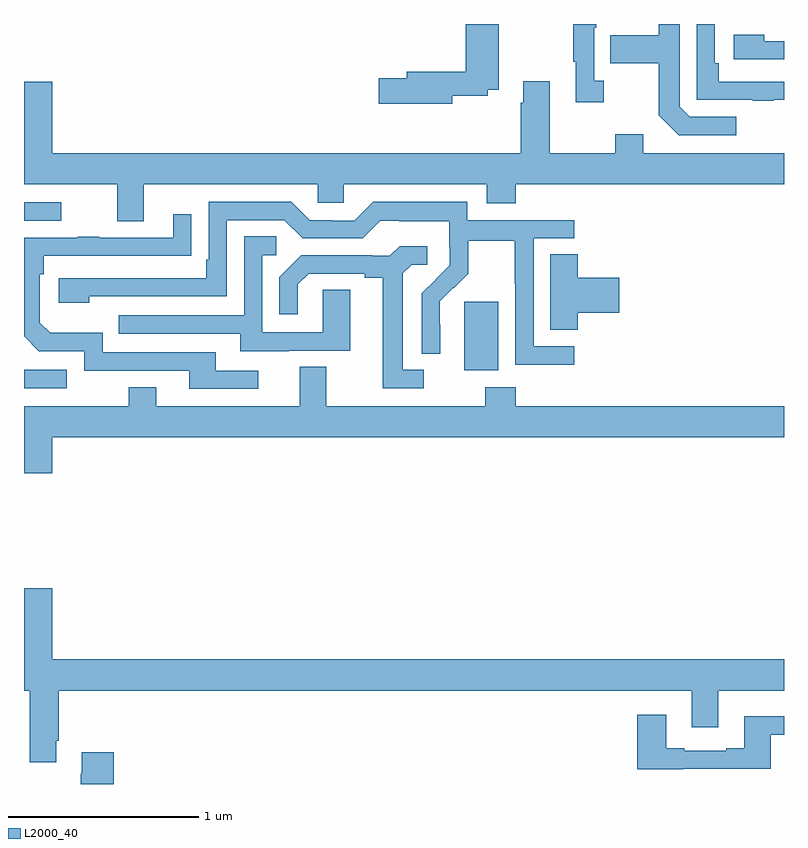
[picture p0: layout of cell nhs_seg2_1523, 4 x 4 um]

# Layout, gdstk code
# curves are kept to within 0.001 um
import gdstk
lib = gdstk.Library(unit=1e-6, precision=1e-09)
def R(c, l, rs):  # rectangles x0, y0, x1, y1
    for r in rs: c.add(gdstk.rectangle(r[:2], r[2:], *l))
def P(c, l, *ps):  # polygons
    for p in ps: c.add(gdstk.Polygon(p, *l))
L2000_40 = (2000, 40)

nhs_seg2_1523 = lib.new_cell('nhs_seg2_1523')
R(nhs_seg2_1523, L2000_40, [(189,659.883,189.226,659.979), (191.318,659.978,191.497,660.339), (189,660.765,189.196,660.861)])
P(nhs_seg2_1523, L2000_40, [(191.254,661.422),(191.442,661.422),(191.442,661.454),(191.499,661.454),(191.499,661.8),(191.324,661.8),(191.324,661.55),(191.015,661.55),(191.015,661.514),(190.866,661.514),(190.866,661.379),(191.254,661.379)],
  [(192.947,661.401),(193,661.401),(193,661.497),(192.656,661.497),(192.656,661.594),(192.636,661.594),(192.636,661.8),(192.54,661.8),(192.54,661.401),(192.835,661.401),(192.835,661.396),(192.947,661.396)],
  [(192.748,661.311),(192.504,661.311),(192.45,661.365),(192.45,661.8),(192.342,661.8),(192.342,661.741),(192.085,661.741),(192.085,661.594),(192.342,661.594),(192.342,661.321),(192.447,661.215),(192.748,661.215)],
  [(192.052,661.502),(192,661.502),(192,661.781),(192.013,661.781),(192.013,661.8),(191.892,661.8),(191.892,661.601),(191.903,661.601),(191.903,661.389),(192.052,661.389)],
  [(193,661.71),(192.896,661.71),(192.896,661.744),(192.735,661.744),(192.735,661.614),(193,661.614)],
  [(193,661.12),(192.259,661.12),(192.259,661.219),(192.112,661.219),(192.112,661.12),(191.767,661.12),(191.767,661.498),(191.627,661.498),(191.627,661.385),(191.615,661.385),(191.615,661.12),(189.148,661.12),(189.148,661.495),(189,661.495),(189,660.956),(189.491,660.956),(189.491,660.762),(189.631,660.762),(189.631,660.956),(190.545,660.956),(190.545,660.858),(190.683,660.858),(190.683,660.956),(191.435,660.956),(191.435,660.857),(191.588,660.857),(191.588,660.956),(193,660.956)],
  [(191.896,660.105),(191.682,660.105),(191.682,660.672),(191.896,660.672),(191.896,660.768),(191.334,660.768),(191.334,660.865),(190.837,660.865),(190.737,660.765),(190.622,660.765),(190.622,660.768),(190.503,660.768),(190.407,660.864),(189.972,660.864),(189.972,660.559),(189.959,660.559),(189.959,660.462),(189.183,660.462),(189.183,660.332),(189.344,660.332),(189.344,660.366),(190.068,660.366),(190.068,660.768),(190.371,660.768),(190.467,660.672),(190.782,660.672),(190.875,660.765),(190.975,660.765),(190.975,660.761),(191.238,660.761),(191.238,660.627),(191.24,660.627),(191.24,660.53),(191.094,660.382),(191.094,660.064),(191.19,660.064),(191.189,660.341),(191.259,660.411),(191.262,660.408),(191.339,660.485),(191.339,660.66),(191.584,660.66),(191.584,660.436),(191.586,660.436),(191.586,660.007),(191.896,660.007)],
  [(190.234,659.976),(190.009,659.976),(190.009,660.072),(189.414,660.072),(189.414,660.175),(189.137,660.175),(189.084,660.228),(189.084,660.482),(189.104,660.482),(189.104,660.579),(189.881,660.58),(189.881,660.799),(189.785,660.799),(189.785,660.675),(189.395,660.675),(189.395,660.68),(189.283,660.68),(189.283,660.675),(189,660.675),(189,660.156),(189.078,660.078),(189.318,660.078),(189.318,659.976),(189.869,659.976),(189.869,659.88),(190.234,659.88)],
  [(190.393,660.081),(190.717,660.081),(190.717,660.401),(190.572,660.401),(190.572,660.177),(190.254,660.177),(190.254,660.582),(190.327,660.582),(190.327,660.683),(190.158,660.683),(190.158,660.267),(189.499,660.267),(189.499,660.171),(190.139,660.171),(190.139,660.077),(190.393,660.077)],
  [(191.104,659.979),(190.993,659.979),(190.993,660.487),(191.04,660.534),(191.122,660.534),(191.122,660.631),(190.978,660.631),(190.926,660.579),(190.832,660.579),(190.832,660.582),(190.46,660.582),(190.344,660.466),(190.344,660.273),(190.441,660.273),(190.441,660.429),(190.498,660.486),(190.793,660.486),(190.793,660.464),(190.889,660.464),(190.889,659.883),(191.104,659.883)],
  [(191.915,660.281),(192.133,660.281),(192.133,660.464),(191.915,660.464),(191.915,660.587),(191.771,660.587),(191.771,660.19),(191.915,660.19)],
  [(193,659.788),(191.588,659.788),(191.588,659.887),(191.428,659.887),(191.428,659.788),(190.591,659.788),(190.591,659.996),(190.451,659.996),(190.451,659.788),(189.697,659.788),(189.697,659.887),(189.55,659.887),(189.55,659.788),(189,659.788),(189,659.436),(189.148,659.436),(189.148,659.624),(193,659.624)],
  [(189.169,658.027),(189.182,658.027),(189.182,658.292),(192.515,658.292),(192.515,658.098),(192.655,658.098),(192.655,658.292),(193,658.292),(193,658.456),(189.148,658.456),(189.148,658.831),(189,658.831),(189,658.292),(189.029,658.292),(189.029,657.915),(189.169,657.915)],
  [(192.471,657.879),(192.931,657.879),(192.931,658.059),(193,658.059),(193,658.156),(192.791,658.156),(192.791,657.988),(192.695,657.988),(192.695,657.975),(192.475,657.975),(192.475,657.988),(192.379,657.988),(192.379,658.165),(192.227,658.165),(192.227,657.878),(192.471,657.878)],
  [(189.473,657.967),(189.305,657.967),(189.305,657.854),(189.298,657.854),(189.298,657.8),(189.473,657.8)])

lib.write_gds('nhs_seg2_1523.gds')
